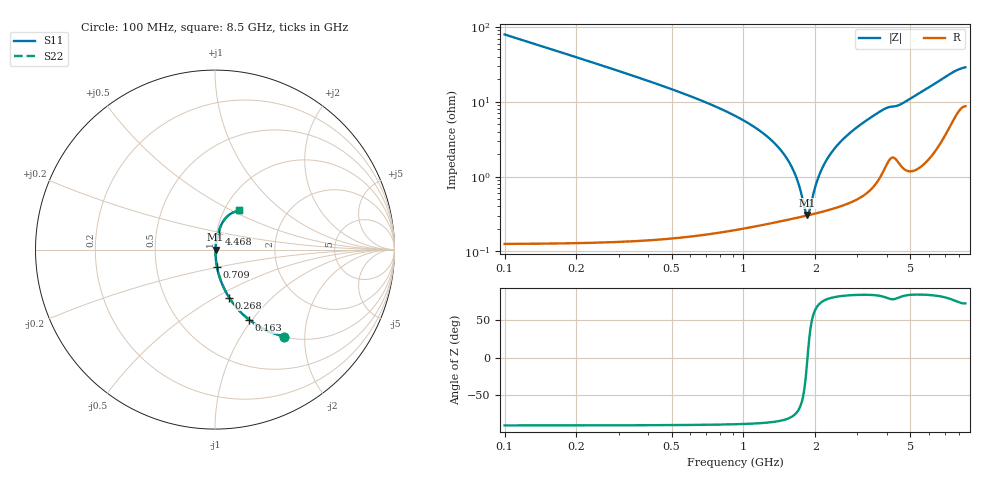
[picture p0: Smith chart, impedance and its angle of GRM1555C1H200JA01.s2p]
!Murata Part Number: GRM1555C1H200JA01
!These Parameters are Measured in Series Mode Connection
!Data Generated on Mar 30, 2021
!  o--ll--o
!Port1  Port2
!  o------o
!Operation Temp=25[degC], DC Bias Voltage=0[V]
!Freq. Start=100[MHz] Stop=9[GHz] 401[Steps]
# Hz S RI R 50
!Freq.(Hz) S11(Real) S11(Imag) S21(Real) S21(Imag) S12(Real) S12(Imag) S22(Real) S22(Imag)
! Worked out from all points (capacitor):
!   401 points, 100 MHz to 8.5 GHz, reference 50 ohm
!   read as one part in series: C = 20 pF near 142 MHz
!   lowest |Z| = 306 mohm at 1.843 GHz (marker M1)
!   series resonance near 1.854 GHz, so ESL is about 370 pH
!   S11 on the Smith chart (normalised r, x): 100 MHz: 1.00, -1.59; 163 MHz: 1.00, -0.97; 268 MHz: 1.00, -0.58; 709 MHz: 1.00, -0.19; 4.468 GHz: 1.03, +0.18; 8.5 GHz: 1.17, +0.55
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1e8  0.3865 -0.4862  0.6135 0.4862  0.6135 0.4862  0.3865 -0.4862
1.63e8  0.1907 -0.3915  0.8093 0.3915  0.8093 0.3915  0.1907 -0.3915
2.68e8  0.0789 -0.2674  0.9211 0.2674  0.9211 0.2674  0.0789 -0.2674
4.57e8  0.0274 -0.1588  0.9726 0.1588  0.9726 0.1588  0.0274 -0.1588
7.09e8  0.0107 -0.0946  0.9893 0.0946  0.9893 0.0946  0.0107 -0.0946
1.234e9  0.00358 -0.0358  0.9964 0.0358  0.9964 0.0358  0.00358 -0.0358
1.507e9  0.00293 -0.018  0.9971 0.018  0.9971 0.018  0.00293 -0.018
1.654e9  0.00288 -0.00988  0.9971 0.00988  0.9971 0.00988  0.00288 -0.00988
1.801e9  0.00296 -0.00253  0.997 0.00253  0.997 0.00253  0.00296 -0.00253
1.843e9  0.00301 -0.000536  0.997 0.000536  0.997 0.000536  0.00301 -0.000536
1.885e9  0.00306 0.00142  0.9969 -0.00142  0.9969 -0.00142  0.00306 0.00142
1.99e9  0.00323 0.00613  0.9968 -0.00613  0.9968 -0.00613  0.00323 0.00613
2.074e9  0.00339 0.00976  0.9966 -0.00976  0.9966 -0.00976  0.00339 0.00976
2.242e9  0.0038 0.0167  0.9962 -0.0167  0.9962 -0.0167  0.0038 0.0167
2.515e9  0.00468 0.0274  0.9953 -0.0274  0.9953 -0.0274  0.00468 0.0274
2.914e9  0.00651 0.0421  0.9935 -0.0421  0.9935 -0.0421  0.00651 0.0421
3.754e9  0.0153 0.0725  0.9847 -0.0725  0.9847 -0.0725  0.0153 0.0725
4.3e9  0.0241 0.0817  0.9759 -0.0817  0.9759 -0.0817  0.0241 0.0817
4.468e9  0.0225 0.0854  0.9775 -0.0854  0.9775 -0.0854  0.0225 0.0854
5.707e9  0.0333 0.135  0.9667 -0.135  0.9667 -0.135  0.0333 0.135
7.114e9  0.0785 0.1936  0.9215 -0.1936  0.9215 -0.1936  0.0785 0.1936
8.5e9  0.1359 0.2193  0.8641 -0.2193  0.8641 -0.2193  0.1359 0.2193
